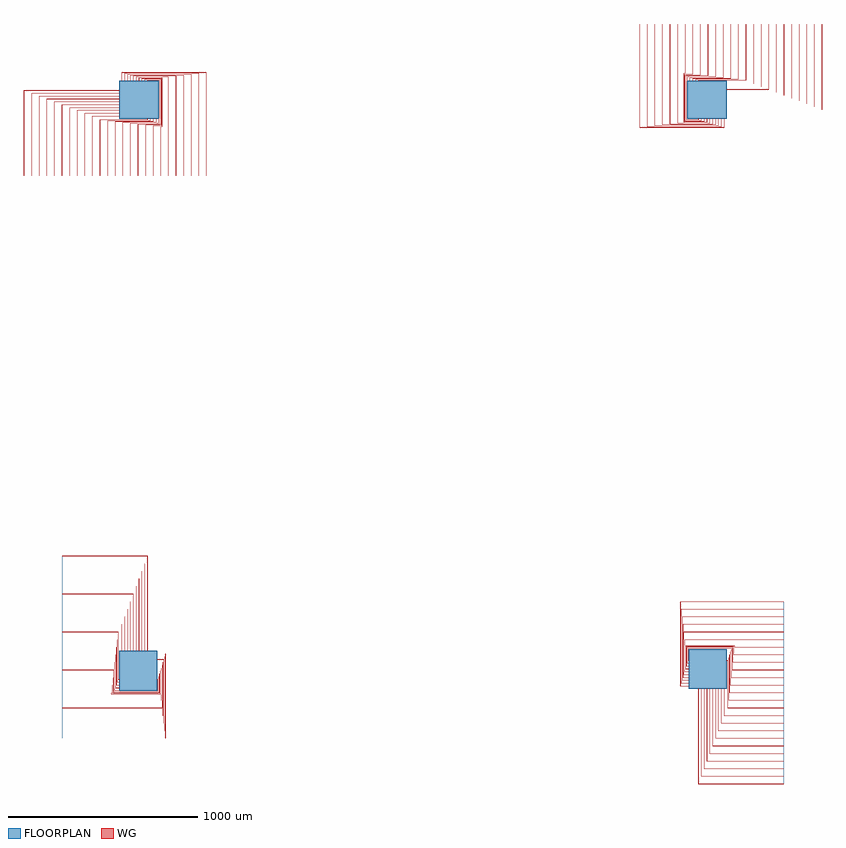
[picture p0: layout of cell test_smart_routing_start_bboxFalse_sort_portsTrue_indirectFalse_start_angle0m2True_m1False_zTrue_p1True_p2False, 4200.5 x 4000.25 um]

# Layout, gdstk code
import gdstk
lib = gdstk.Library(unit=1e-6, precision=1e-09)
def R(c, l, rs):  # rectangles x0, y0, x1, y1
    for r in rs: c.add(gdstk.rectangle(r[:2], r[2:], *l))
def P(c, l, *ps):  # polygons
    for p in ps: c.add(gdstk.Polygon(p, *l))
WG = (1, 0)
FLOORPLAN = (10, 0)

test_smart_routing_start = lib.new_cell('test_smart_routing_start_bboxFalse_sort_portsTrue_indirectFalse_start_angle0m2True_m1False_zTrue_p1True_p2False')
P(test_smart_routing_start, WG, [(3100,2950.05),(3100,2950.25),(3599.75,2950.25),(3599.75,3400),(3599.95,3400),(3599.95,2950.05)],
  [(3100,2949.75),(3100,2949.95),(3600.05,2949.95),(3600.05,3400),(3600.25,3400),(3600.25,2949.75)],
  [(3100,2965.05),(3100,2965.25),(3559.75,2965.25),(3559.75,3400),(3559.95,3400),(3559.95,2965.05)],
  [(3100,2964.75),(3100,2964.95),(3560.05,2964.95),(3560.05,3400),(3560.25,3400),(3560.25,2964.75)],
  [(3100,2980.05),(3100,2980.25),(3519.75,2980.25),(3519.75,3400),(3519.95,3400),(3519.95,2980.05)],
  [(3100,2979.75),(3100,2979.95),(3520.05,2979.95),(3520.05,3400),(3520.25,3400),(3520.25,2979.75)],
  [(3100,2995.05),(3100,2995.25),(3479.75,2995.25),(3479.75,3400),(3479.95,3400),(3479.95,2995.05)],
  [(3100,2994.75),(3100,2994.95),(3480.05,2994.95),(3480.05,3400),(3480.25,3400),(3480.25,2994.75)],
  [(3100,3010.05),(3100,3010.25),(3439.75,3010.25),(3439.75,3400),(3439.95,3400),(3439.95,3010.05)],
  [(3100,3009.75),(3100,3009.95),(3440.05,3009.95),(3440.05,3400),(3440.25,3400),(3440.25,3009.75)],
  [(3100,3025.05),(3100,3025.25),(3399.75,3025.25),(3399.75,3400),(3399.95,3400),(3399.95,3025.05)],
  [(3100,3024.75),(3100,3024.95),(3400.05,3024.95),(3400.05,3400),(3400.25,3400),(3400.25,3024.75)],
  [(3100,3040.05),(3100,3040.25),(3359.75,3040.25),(3359.75,3400),(3359.95,3400),(3359.95,3040.05)],
  [(3100,3039.75),(3100,3039.95),(3360.05,3039.95),(3360.05,3400),(3360.25,3400),(3360.25,3039.75)],
  [(3100,3055.05),(3100,3055.25),(3319.75,3055.25),(3319.75,3400),(3319.95,3400),(3319.95,3055.05)],
  [(3100,3054.75),(3100,3054.95),(3320.05,3054.95),(3320.05,3400),(3320.25,3400),(3320.25,3054.75)],
  [(3100,3070.05),(3100,3070.25),(3279.75,3070.25),(3279.75,3400),(3279.95,3400),(3279.95,3070.05)],
  [(3100,3069.75),(3100,3069.95),(3280.05,3069.95),(3280.05,3400),(3280.25,3400),(3280.25,3069.75)],
  [(3100,3085.05),(3100,3085.25),(3239.75,3085.25),(3239.75,3400),(3239.95,3400),(3239.95,3085.05)],
  [(3100,3084.75),(3100,3084.95),(3240.05,3084.95),(3240.05,3400),(3240.25,3400),(3240.25,3084.75)],
  [(2949.75,3100),(2949.75,3104.5),(3199.75,3104.5),(3199.75,3400),(3199.95,3400),(3199.95,3104.3),(2949.95,3104.3),(2949.95,3100)],
  [(2950.05,3100),(2950.05,3104.2),(3200.05,3104.2),(3200.05,3400),(3200.25,3400),(3200.25,3104),(2950.25,3104),(2950.25,3100)],
  [(2934.75,3100),(2934.75,3109),(3159.75,3109),(3159.75,3400),(3159.95,3400),(3159.95,3108.8),(2934.95,3108.8),(2934.95,3100)],
  [(2935.05,3100),(2935.05,3108.7),(3160.05,3108.7),(3160.05,3400),(3160.25,3400),(3160.25,3108.5),(2935.25,3108.5),(2935.25,3100)],
  [(2919.75,3100),(2919.75,3113.5),(3119.75,3113.5),(3119.75,3400),(3119.95,3400),(3119.95,3113.3),(2919.95,3113.3),(2919.95,3100)],
  [(2920.05,3100),(2920.05,3113.2),(3120.05,3113.2),(3120.05,3400),(3120.25,3400),(3120.25,3113),(2920.25,3113),(2920.25,3100)],
  [(2904.75,3100),(2904.75,3118),(3079.75,3118),(3079.75,3400),(3079.95,3400),(3079.95,3117.8),(2904.95,3117.8),(2904.95,3100)],
  [(2905.05,3100),(2905.05,3117.7),(3080.05,3117.7),(3080.05,3400),(3080.25,3400),(3080.25,3117.5),(2905.25,3117.5),(2905.25,3100)],
  [(2889.75,3100),(2889.75,3122.5),(3039.75,3122.5),(3039.75,3400),(3039.95,3400),(3039.95,3122.3),(2889.95,3122.3),(2889.95,3100)],
  [(2890.05,3100),(2890.05,3122.2),(3040.05,3122.2),(3040.05,3400),(3040.25,3400),(3040.25,3122),(2890.25,3122),(2890.25,3100)],
  [(2885.25,2895.5),(2885.25,3127),(2999.75,3127),(2999.75,3400),(2999.95,3400),(2999.95,3126.8),(2885.45,3126.8),(2885.45,2895.7),(2950.05,2895.7),(2950.05,2900),(2950.25,2900),(2950.25,2895.5)],
  [(2885.55,2895.8),(2885.55,3126.7),(3000.05,3126.7),(3000.05,3400),(3000.25,3400),(3000.25,3126.5),(2885.75,3126.5),(2885.75,2896),(2949.75,2896),(2949.75,2900),(2949.95,2900),(2949.95,2895.8)],
  [(2880.75,2891),(2880.75,3131.5),(2959.75,3131.5),(2959.75,3400),(2959.95,3400),(2959.95,3131.3),(2880.95,3131.3),(2880.95,2891.2),(2965.05,2891.2),(2965.05,2900),(2965.25,2900),(2965.25,2891)],
  [(2881.05,2891.3),(2881.05,3131.2),(2960.05,3131.2),(2960.05,3400),(2960.25,3400),(2960.25,3131),(2881.25,3131),(2881.25,2891.5),(2964.75,2891.5),(2964.75,2900),(2964.95,2900),(2964.95,2891.3)],
  [(2876.25,2886.5),(2876.25,3136),(2919.75,3136),(2919.75,3400),(2919.95,3400),(2919.95,3135.8),(2876.45,3135.8),(2876.45,2886.7),(2980.05,2886.7),(2980.05,2900),(2980.25,2900),(2980.25,2886.5)],
  [(2876.55,2886.8),(2876.55,3135.7),(2920.05,3135.7),(2920.05,3400),(2920.25,3400),(2920.25,3135.5),(2876.75,3135.5),(2876.75,2887),(2979.75,2887),(2979.75,2900),(2979.95,2900),(2979.95,2886.8)],
  [(2871.75,2882),(2871.75,3140.5),(2879.75,3140.5),(2879.75,3400),(2879.95,3400),(2879.95,3140.3),(2871.95,3140.3),(2871.95,2882.2),(2995.05,2882.2),(2995.05,2900),(2995.25,2900),(2995.25,2882)],
  [(2872.05,2882.3),(2872.05,3140.2),(2880.05,3140.2),(2880.05,3400),(2880.25,3400),(2880.25,3140),(2872.25,3140),(2872.25,2882.5),(2994.75,2882.5),(2994.75,2900),(2994.95,2900),(2994.95,2882.3)],
  [(2839.75,2877.5),(2839.75,3400),(2839.95,3400),(2839.95,2877.7),(3010.05,2877.7),(3010.05,2900),(3010.25,2900),(3010.25,2877.5)],
  [(2840.05,2877.8),(2840.05,3400),(2840.25,3400),(2840.25,2878),(3009.75,2878),(3009.75,2900),(3009.95,2900),(3009.95,2877.8)],
  [(2799.75,2873),(2799.75,3400),(2799.95,3400),(2799.95,2873.2),(3025.05,2873.2),(3025.05,2900),(3025.25,2900),(3025.25,2873)],
  [(2800.05,2873.3),(2800.05,3400),(2800.25,3400),(2800.25,2873.5),(3024.75,2873.5),(3024.75,2900),(3024.95,2900),(3024.95,2873.3)],
  [(2759.75,2868.5),(2759.75,3400),(2759.95,3400),(2759.95,2868.7),(3040.05,2868.7),(3040.05,2900),(3040.25,2900),(3040.25,2868.5)],
  [(2760.05,2868.8),(2760.05,3400),(2760.25,3400),(2760.25,2869),(3039.75,2869),(3039.75,2900),(3039.95,2900),(3039.95,2868.8)],
  [(2719.75,2864),(2719.75,3400),(2719.95,3400),(2719.95,2864.2),(3055.05,2864.2),(3055.05,2900),(3055.25,2900),(3055.25,2864)],
  [(2720.05,2864.3),(2720.05,3400),(2720.25,3400),(2720.25,2864.5),(3054.75,2864.5),(3054.75,2900),(3054.95,2900),(3054.95,2864.3)],
  [(2679.75,2859.5),(2679.75,3400),(2679.95,3400),(2679.95,2859.7),(3070.05,2859.7),(3070.05,2900),(3070.25,2900),(3070.25,2859.5)],
  [(2680.05,2859.8),(2680.05,3400),(2680.25,3400),(2680.25,2860),(3069.75,2860),(3069.75,2900),(3069.95,2900),(3069.95,2859.8)],
  [(2639.75,2855),(2639.75,3400),(2639.95,3400),(2639.95,2855.2),(3085.05,2855.2),(3085.05,2900),(3085.25,2900),(3085.25,2855)],
  [(2640.05,2855.3),(2640.05,3400),(2640.25,3400),(2640.25,2855.5),(3084.75,2855.5),(3084.75,2900),(3084.95,2900),(3084.95,2855.3)],
  [(-599.95,2600),(-599.95,3049.95),(-100,3049.95),(-100,3049.75),(-599.75,3049.75),(-599.75,2600)],
  [(-600.25,2600),(-600.25,3050.25),(-100,3050.25),(-100,3050.05),(-600.05,3050.05),(-600.05,2600)],
  [(-559.95,2600),(-559.95,3034.95),(-100,3034.95),(-100,3034.75),(-559.75,3034.75),(-559.75,2600)],
  [(-560.25,2600),(-560.25,3035.25),(-100,3035.25),(-100,3035.05),(-560.05,3035.05),(-560.05,2600)],
  [(-519.95,2600),(-519.95,3019.95),(-100,3019.95),(-100,3019.75),(-519.75,3019.75),(-519.75,2600)],
  [(-520.25,2600),(-520.25,3020.25),(-100,3020.25),(-100,3020.05),(-520.05,3020.05),(-520.05,2600)],
  [(-479.95,2600),(-479.95,3004.95),(-100,3004.95),(-100,3004.75),(-479.75,3004.75),(-479.75,2600)],
  [(-480.25,2600),(-480.25,3005.25),(-100,3005.25),(-100,3005.05),(-480.05,3005.05),(-480.05,2600)],
  [(-439.95,2600),(-439.95,2989.95),(-100,2989.95),(-100,2989.75),(-439.75,2989.75),(-439.75,2600)],
  [(-440.25,2600),(-440.25,2990.25),(-100,2990.25),(-100,2990.05),(-440.05,2990.05),(-440.05,2600)],
  [(-399.95,2600),(-399.95,2974.95),(-100,2974.95),(-100,2974.75),(-399.75,2974.75),(-399.75,2600)],
  [(-400.25,2600),(-400.25,2975.25),(-100,2975.25),(-100,2975.05),(-400.05,2975.05),(-400.05,2600)],
  [(-359.95,2600),(-359.95,2959.95),(-100,2959.95),(-100,2959.75),(-359.75,2959.75),(-359.75,2600)],
  [(-360.25,2600),(-360.25,2960.25),(-100,2960.25),(-100,2960.05),(-360.05,2960.05),(-360.05,2600)],
  [(-319.95,2600),(-319.95,2944.95),(-100,2944.95),(-100,2944.75),(-319.75,2944.75),(-319.75,2600)],
  [(-320.25,2600),(-320.25,2945.25),(-100,2945.25),(-100,2945.05),(-320.05,2945.05),(-320.05,2600)],
  [(-279.95,2600),(-279.95,2929.95),(-100,2929.95),(-100,2929.75),(-279.75,2929.75),(-279.75,2600)],
  [(-280.25,2600),(-280.25,2930.25),(-100,2930.25),(-100,2930.05),(-280.05,2930.05),(-280.05,2600)],
  [(-239.95,2600),(-239.95,2914.95),(-100,2914.95),(-100,2914.75),(-239.75,2914.75),(-239.75,2600)],
  [(-240.25,2600),(-240.25,2915.25),(-100,2915.25),(-100,2915.05),(-240.05,2915.05),(-240.05,2600)],
  [(-200.25,2600),(-200.25,2896),(49.75,2896),(49.75,2900),(49.95,2900),(49.95,2895.8),(-200.05,2895.8),(-200.05,2600)],
  [(-199.95,2600),(-199.95,2895.7),(50.05,2895.7),(50.05,2900),(50.25,2900),(50.25,2895.5),(-199.75,2895.5),(-199.75,2600)],
  [(-160.25,2600),(-160.25,2891.5),(64.75,2891.5),(64.75,2900),(64.95,2900),(64.95,2891.3),(-160.05,2891.3),(-160.05,2600)],
  [(-159.95,2600),(-159.95,2891.2),(65.05,2891.2),(65.05,2900),(65.25,2900),(65.25,2891),(-159.75,2891),(-159.75,2600)],
  [(-120.25,2600),(-120.25,2887),(79.75,2887),(79.75,2900),(79.95,2900),(79.95,2886.8),(-120.05,2886.8),(-120.05,2600)],
  [(-119.95,2600),(-119.95,2886.7),(80.05,2886.7),(80.05,2900),(80.25,2900),(80.25,2886.5),(-119.75,2886.5),(-119.75,2600)],
  [(-80.25,2600),(-80.25,2882.5),(94.75,2882.5),(94.75,2900),(94.95,2900),(94.95,2882.3),(-80.05,2882.3),(-80.05,2600)],
  [(-79.95,2600),(-79.95,2882.2),(95.05,2882.2),(95.05,2900),(95.25,2900),(95.25,2882),(-79.75,2882),(-79.75,2600)],
  [(-40.25,2600),(-40.25,2878),(109.75,2878),(109.75,2900),(109.95,2900),(109.95,2877.8),(-40.05,2877.8),(-40.05,2600)],
  [(-39.95,2600),(-39.95,2877.7),(110.05,2877.7),(110.05,2900),(110.25,2900),(110.25,2877.5),(-39.75,2877.5),(-39.75,2600)],
  [(-0.25,2600),(-0.25,2873.5),(114.25,2873.5),(114.25,3104),(50.25,3104),(50.25,3100),(50.05,3100),(50.05,3104.2),(114.45,3104.2),(114.45,2873.3),(-0.05,2873.3),(-0.05,2600)],
  [(0.05,2600),(0.05,2873.2),(114.55,2873.2),(114.55,3104.3),(49.95,3104.3),(49.95,3100),(49.75,3100),(49.75,3104.5),(114.75,3104.5),(114.75,2873),(0.25,2873),(0.25,2600)],
  [(39.75,2600),(39.75,2869),(118.75,2869),(118.75,3108.5),(35.25,3108.5),(35.25,3100),(35.05,3100),(35.05,3108.7),(118.95,3108.7),(118.95,2868.8),(39.95,2868.8),(39.95,2600)],
  [(40.05,2600),(40.05,2868.7),(119.05,2868.7),(119.05,3108.8),(34.95,3108.8),(34.95,3100),(34.75,3100),(34.75,3109),(119.25,3109),(119.25,2868.5),(40.25,2868.5),(40.25,2600)],
  [(79.75,2600),(79.75,2864.5),(123.25,2864.5),(123.25,3113),(20.25,3113),(20.25,3100),(20.05,3100),(20.05,3113.2),(123.45,3113.2),(123.45,2864.3),(79.95,2864.3),(79.95,2600)],
  [(80.05,2600),(80.05,2864.2),(123.55,2864.2),(123.55,3113.3),(19.95,3113.3),(19.95,3100),(19.75,3100),(19.75,3113.5),(123.75,3113.5),(123.75,2864),(80.25,2864),(80.25,2600)],
  [(119.75,2600),(119.75,2860),(127.75,2860),(127.75,3117.5),(5.25,3117.5),(5.25,3100),(5.05,3100),(5.05,3117.7),(127.95,3117.7),(127.95,2859.8),(119.95,2859.8),(119.95,2600)],
  [(120.05,2600),(120.05,2859.7),(128.05,2859.7),(128.05,3117.8),(4.95,3117.8),(4.95,3100),(4.75,3100),(4.75,3118),(128.25,3118),(128.25,2859.5),(120.25,2859.5),(120.25,2600)],
  [(159.75,2600),(159.75,3122),(-9.75,3122),(-9.75,3100),(-9.95,3100),(-9.95,3122.2),(159.95,3122.2),(159.95,2600)],
  [(160.05,2600),(160.05,3122.3),(-10.05,3122.3),(-10.05,3100),(-10.25,3100),(-10.25,3122.5),(160.25,3122.5),(160.25,2600)],
  [(199.75,2600),(199.75,3126.5),(-24.75,3126.5),(-24.75,3100),(-24.95,3100),(-24.95,3126.7),(199.95,3126.7),(199.95,2600)],
  [(200.05,2600),(200.05,3126.8),(-25.05,3126.8),(-25.05,3100),(-25.25,3100),(-25.25,3127),(200.25,3127),(200.25,2600)],
  [(239.75,2600),(239.75,3131),(-39.75,3131),(-39.75,3100),(-39.95,3100),(-39.95,3131.2),(239.95,3131.2),(239.95,2600)],
  [(240.05,2600),(240.05,3131.3),(-40.05,3131.3),(-40.05,3100),(-40.25,3100),(-40.25,3131.5),(240.25,3131.5),(240.25,2600)],
  [(279.75,2600),(279.75,3135.5),(-54.75,3135.5),(-54.75,3100),(-54.95,3100),(-54.95,3135.7),(279.95,3135.7),(279.95,2600)],
  [(280.05,2600),(280.05,3135.8),(-55.05,3135.8),(-55.05,3100),(-55.25,3100),(-55.25,3136),(280.25,3136),(280.25,2600)],
  [(319.75,2600),(319.75,3140),(-69.75,3140),(-69.75,3100),(-69.95,3100),(-69.95,3140.2),(319.95,3140.2),(319.95,2600)],
  [(320.05,2600),(320.05,3140.3),(-70.05,3140.3),(-70.05,3100),(-70.25,3100),(-70.25,3140.5),(320.25,3140.5),(320.25,2600)],
  [(359.75,2600),(359.75,3144.5),(-84.75,3144.5),(-84.75,3100),(-84.95,3100),(-84.95,3144.7),(359.95,3144.7),(359.95,2600)],
  [(360.05,2600),(360.05,3144.8),(-85.05,3144.8),(-85.05,3100),(-85.25,3100),(-85.25,3145),(360.25,3145),(360.25,2600)],
  [(49.75,100),(49.75,599.75),(-400,599.75),(-400,599.95),(49.95,599.95),(49.95,100)],
  [(50.05,100),(50.05,600.05),(-400,600.05),(-400,600.25),(50.25,600.25),(50.25,100)],
  [(34.75,100),(34.75,559.75),(-400,559.75),(-400,559.95),(34.95,559.95),(34.95,100)],
  [(35.05,100),(35.05,560.05),(-400,560.05),(-400,560.25),(35.25,560.25),(35.25,100)],
  [(19.75,100),(19.75,519.75),(-400,519.75),(-400,519.95),(19.95,519.95),(19.95,100)],
  [(20.05,100),(20.05,520.05),(-400,520.05),(-400,520.25),(20.25,520.25),(20.25,100)],
  [(4.75,100),(4.75,479.75),(-400,479.75),(-400,479.95),(4.95,479.95),(4.95,100)],
  [(5.05,100),(5.05,480.05),(-400,480.05),(-400,480.25),(5.25,480.25),(5.25,100)],
  [(-10.25,100),(-10.25,439.75),(-400,439.75),(-400,439.95),(-10.05,439.95),(-10.05,100)],
  [(-9.95,100),(-9.95,440.05),(-400,440.05),(-400,440.25),(-9.75,440.25),(-9.75,100)],
  [(-25.25,100),(-25.25,399.75),(-400,399.75),(-400,399.95),(-25.05,399.95),(-25.05,100)],
  [(-24.95,100),(-24.95,400.05),(-400,400.05),(-400,400.25),(-24.75,400.25),(-24.75,100)],
  [(-40.25,100),(-40.25,359.75),(-400,359.75),(-400,359.95),(-40.05,359.95),(-40.05,100)],
  [(-39.95,100),(-39.95,360.05),(-400,360.05),(-400,360.25),(-39.75,360.25),(-39.75,100)],
  [(-55.25,100),(-55.25,319.75),(-400,319.75),(-400,319.95),(-55.05,319.95),(-55.05,100)],
  [(-54.95,100),(-54.95,320.05),(-400,320.05),(-400,320.25),(-54.75,320.25),(-54.75,100)],
  [(-70.25,100),(-70.25,279.75),(-400,279.75),(-400,279.95),(-70.05,279.95),(-70.05,100)],
  [(-69.95,100),(-69.95,280.05),(-400,280.05),(-400,280.25),(-69.75,280.25),(-69.75,100)],
  [(-85.25,100),(-85.25,239.75),(-400,239.75),(-400,239.95),(-85.05,239.95),(-85.05,100)],
  [(-84.95,100),(-84.95,240.05),(-400,240.05),(-400,240.25),(-84.75,240.25),(-84.75,100)],
  [(-104.5,-50.25),(-104.5,199.75),(-400,199.75),(-400,199.95),(-104.3,199.95),(-104.3,-50.05),(-100,-50.05),(-100,-50.25)],
  [(-104.2,-49.95),(-104.2,200.05),(-400,200.05),(-400,200.25),(-104,200.25),(-104,-49.75),(-100,-49.75),(-100,-49.95)],
  [(-109,-65.25),(-109,159.75),(-400,159.75),(-400,159.95),(-108.8,159.95),(-108.8,-65.05),(-100,-65.05),(-100,-65.25)],
  [(-108.7,-64.95),(-108.7,160.05),(-400,160.05),(-400,160.25),(-108.5,160.25),(-108.5,-64.75),(-100,-64.75),(-100,-64.95)],
  [(-113.5,-80.25),(-113.5,119.75),(-400,119.75),(-400,119.95),(-113.3,119.95),(-113.3,-80.05),(-100,-80.05),(-100,-80.25)],
  [(-113.2,-79.95),(-113.2,120.05),(-400,120.05),(-400,120.25),(-113,120.25),(-113,-79.75),(-100,-79.75),(-100,-79.95)],
  [(-118,-95.25),(-118,79.75),(-400,79.75),(-400,79.95),(-117.8,79.95),(-117.8,-95.05),(-100,-95.05),(-100,-95.25)],
  [(-117.7,-94.95),(-117.7,80.05),(-400,80.05),(-400,80.25),(-117.5,80.25),(-117.5,-94.75),(-100,-94.75),(-100,-94.95)],
  [(-122.5,-110.25),(-122.5,39.75),(-400,39.75),(-400,39.95),(-122.3,39.95),(-122.3,-110.05),(-100,-110.05),(-100,-110.25)],
  [(-122.2,-109.95),(-122.2,40.05),(-400,40.05),(-400,40.25),(-122,40.25),(-122,-109.75),(-100,-109.75),(-100,-109.95)],
  [(-127,-114.75),(-127,-0.25),(-400,-0.25),(-400,-0.05),(-126.8,-0.05),(-126.8,-114.55),(104.3,-114.55),(104.3,-49.95),(100,-49.95),(100,-49.75),(104.5,-49.75),(104.5,-114.75)],
  [(-126.7,-114.45),(-126.7,0.05),(-400,0.05),(-400,0.25),(-126.5,0.25),(-126.5,-114.25),(104,-114.25),(104,-50.25),(100,-50.25),(100,-50.05),(104.2,-50.05),(104.2,-114.45)],
  [(-131.2,-118.95),(-131.2,-39.95),(-400,-39.95),(-400,-39.75),(-131,-39.75),(-131,-118.75),(108.5,-118.75),(108.5,-35.25),(100,-35.25),(100,-35.05),(108.7,-35.05),(108.7,-118.95)],
  [(-131.5,-119.25),(-131.5,-40.25),(-400,-40.25),(-400,-40.05),(-131.3,-40.05),(-131.3,-119.05),(108.8,-119.05),(108.8,-34.95),(100,-34.95),(100,-34.75),(109,-34.75),(109,-119.25)],
  [(-135.7,-123.45),(-135.7,-79.95),(-400,-79.95),(-400,-79.75),(-135.5,-79.75),(-135.5,-123.25),(113,-123.25),(113,-20.25),(100,-20.25),(100,-20.05),(113.2,-20.05),(113.2,-123.45)],
  [(-136,-123.75),(-136,-80.25),(-400,-80.25),(-400,-80.05),(-135.8,-80.05),(-135.8,-123.55),(113.3,-123.55),(113.3,-19.95),(100,-19.95),(100,-19.75),(113.5,-19.75),(113.5,-123.75)],
  [(-140.2,-127.95),(-140.2,-119.95),(-400,-119.95),(-400,-119.75),(-140,-119.75),(-140,-127.75),(117.5,-127.75),(117.5,-5.25),(100,-5.25),(100,-5.05),(117.7,-5.05),(117.7,-127.95)],
  [(-140.5,-128.25),(-140.5,-120.25),(-400,-120.25),(-400,-120.05),(-140.3,-120.05),(-140.3,-128.05),(117.8,-128.05),(117.8,-4.95),(100,-4.95),(100,-4.75),(118,-4.75),(118,-128.25)],
  [(-400,-159.95),(-400,-159.75),(122,-159.75),(122,9.75),(100,9.75),(100,9.95),(122.2,9.95),(122.2,-159.95)],
  [(-400,-160.25),(-400,-160.05),(122.3,-160.05),(122.3,10.05),(100,10.05),(100,10.25),(122.5,10.25),(122.5,-160.25)],
  [(-400,-199.95),(-400,-199.75),(126.5,-199.75),(126.5,24.75),(100,24.75),(100,24.95),(126.7,24.95),(126.7,-199.95)],
  [(-400,-200.25),(-400,-200.05),(126.8,-200.05),(126.8,25.05),(100,25.05),(100,25.25),(127,25.25),(127,-200.25)],
  [(-400,-239.95),(-400,-239.75),(131,-239.75),(131,39.75),(100,39.75),(100,39.95),(131.2,39.95),(131.2,-239.95)],
  [(-400,-240.25),(-400,-240.05),(131.3,-240.05),(131.3,40.05),(100,40.05),(100,40.25),(131.5,40.25),(131.5,-240.25)],
  [(-400,-279.95),(-400,-279.75),(135.5,-279.75),(135.5,54.75),(100,54.75),(100,54.95),(135.7,54.95),(135.7,-279.95)],
  [(-400,-280.25),(-400,-280.05),(135.8,-280.05),(135.8,55.05),(100,55.05),(100,55.25),(136,55.25),(136,-280.25)],
  [(-400,-319.95),(-400,-319.75),(140,-319.75),(140,69.75),(100,69.75),(100,69.95),(140.2,69.95),(140.2,-319.95)],
  [(-400,-320.25),(-400,-320.05),(140.3,-320.05),(140.3,70.05),(100,70.05),(100,70.25),(140.5,70.25),(140.5,-320.25)],
  [(-400,-359.95),(-400,-359.75),(144.5,-359.75),(144.5,84.75),(100,84.75),(100,84.95),(144.7,84.95),(144.7,-359.95)],
  [(-400,-360.25),(-400,-360.05),(144.8,-360.05),(144.8,85.05),(100,85.05),(100,85.25),(145,85.25),(145,-360.25)],
  [(2949.75,-600.25),(2949.75,-100),(2949.95,-100),(2949.95,-600.05),(3400,-600.05),(3400,-600.25)],
  [(2950.05,-599.95),(2950.05,-100),(2950.25,-100),(2950.25,-599.75),(3400,-599.75),(3400,-599.95)],
  [(2964.75,-560.25),(2964.75,-100),(2964.95,-100),(2964.95,-560.05),(3400,-560.05),(3400,-560.25)],
  [(2965.05,-559.95),(2965.05,-100),(2965.25,-100),(2965.25,-559.75),(3400,-559.75),(3400,-559.95)],
  [(2979.75,-520.25),(2979.75,-100),(2979.95,-100),(2979.95,-520.05),(3400,-520.05),(3400,-520.25)],
  [(2980.05,-519.95),(2980.05,-100),(2980.25,-100),(2980.25,-519.75),(3400,-519.75),(3400,-519.95)],
  [(2994.75,-480.25),(2994.75,-100),(2994.95,-100),(2994.95,-480.05),(3400,-480.05),(3400,-480.25)],
  [(2995.05,-479.95),(2995.05,-100),(2995.25,-100),(2995.25,-479.75),(3400,-479.75),(3400,-479.95)],
  [(3009.75,-440.25),(3009.75,-100),(3009.95,-100),(3009.95,-440.05),(3400,-440.05),(3400,-440.25)],
  [(3010.05,-439.95),(3010.05,-100),(3010.25,-100),(3010.25,-439.75),(3400,-439.75),(3400,-439.95)],
  [(3024.75,-400.25),(3024.75,-100),(3024.95,-100),(3024.95,-400.05),(3400,-400.05),(3400,-400.25)],
  [(3025.05,-399.95),(3025.05,-100),(3025.25,-100),(3025.25,-399.75),(3400,-399.75),(3400,-399.95)],
  [(3039.75,-360.25),(3039.75,-100),(3039.95,-100),(3039.95,-360.05),(3400,-360.05),(3400,-360.25)],
  [(3040.05,-359.95),(3040.05,-100),(3040.25,-100),(3040.25,-359.75),(3400,-359.75),(3400,-359.95)],
  [(3054.75,-320.25),(3054.75,-100),(3054.95,-100),(3054.95,-320.05),(3400,-320.05),(3400,-320.25)],
  [(3055.05,-319.95),(3055.05,-100),(3055.25,-100),(3055.25,-319.75),(3400,-319.75),(3400,-319.95)],
  [(3069.75,-280.25),(3069.75,-100),(3069.95,-100),(3069.95,-280.05),(3400,-280.05),(3400,-280.25)],
  [(3070.05,-279.95),(3070.05,-100),(3070.25,-100),(3070.25,-279.75),(3400,-279.75),(3400,-279.95)],
  [(3084.75,-240.25),(3084.75,-100),(3084.95,-100),(3084.95,-240.05),(3400,-240.05),(3400,-240.25)],
  [(3085.05,-239.95),(3085.05,-100),(3085.25,-100),(3085.25,-239.75),(3400,-239.75),(3400,-239.95)],
  [(3104,-200.25),(3104,49.75),(3100,49.75),(3100,49.95),(3104.2,49.95),(3104.2,-200.05),(3400,-200.05),(3400,-200.25)],
  [(3104.3,-199.95),(3104.3,50.05),(3100,50.05),(3100,50.25),(3104.5,50.25),(3104.5,-199.75),(3400,-199.75),(3400,-199.95)],
  [(3108.5,-160.25),(3108.5,64.75),(3100,64.75),(3100,64.95),(3108.7,64.95),(3108.7,-160.05),(3400,-160.05),(3400,-160.25)],
  [(3108.8,-159.95),(3108.8,65.05),(3100,65.05),(3100,65.25),(3109,65.25),(3109,-159.75),(3400,-159.75),(3400,-159.95)],
  [(3113,-120.25),(3113,79.75),(3100,79.75),(3100,79.95),(3113.2,79.95),(3113.2,-120.05),(3400,-120.05),(3400,-120.25)],
  [(3113.3,-119.95),(3113.3,80.05),(3100,80.05),(3100,80.25),(3113.5,80.25),(3113.5,-119.75),(3400,-119.75),(3400,-119.95)],
  [(3117.5,-80.25),(3117.5,94.75),(3100,94.75),(3100,94.95),(3117.7,94.95),(3117.7,-80.05),(3400,-80.05),(3400,-80.25)],
  [(3117.8,-79.95),(3117.8,95.05),(3100,95.05),(3100,95.25),(3118,95.25),(3118,-79.75),(3400,-79.75),(3400,-79.95)],
  [(3122,-40.25),(3122,109.75),(3100,109.75),(3100,109.95),(3122.2,109.95),(3122.2,-40.05),(3400,-40.05),(3400,-40.25)],
  [(3122.3,-39.95),(3122.3,110.05),(3100,110.05),(3100,110.25),(3122.5,110.25),(3122.5,-39.75),(3400,-39.75),(3400,-39.95)],
  [(3126.5,-0.25),(3126.5,114.25),(2896,114.25),(2896,50.25),(2900,50.25),(2900,50.05),(2895.8,50.05),(2895.8,114.45),(3126.7,114.45),(3126.7,-0.05),(3400,-0.05),(3400,-0.25)],
  [(3126.8,0.05),(3126.8,114.55),(2895.7,114.55),(2895.7,49.95),(2900,49.95),(2900,49.75),(2895.5,49.75),(2895.5,114.75),(3127,114.75),(3127,0.25),(3400,0.25),(3400,0.05)],
  [(2891.3,35.05),(2891.3,118.95),(3131.2,118.95),(3131.2,39.95),(3400,39.95),(3400,39.75),(3131,39.75),(3131,118.75),(2891.5,118.75),(2891.5,35.25),(2900,35.25),(2900,35.05)],
  [(2891,34.75),(2891,119.25),(3131.5,119.25),(3131.5,40.25),(3400,40.25),(3400,40.05),(3131.3,40.05),(3131.3,119.05),(2891.2,119.05),(2891.2,34.95),(2900,34.95),(2900,34.75)],
  [(2886.8,20.05),(2886.8,123.45),(3135.7,123.45),(3135.7,79.95),(3400,79.95),(3400,79.75),(3135.5,79.75),(3135.5,123.25),(2887,123.25),(2887,20.25),(2900,20.25),(2900,20.05)],
  [(2886.5,19.75),(2886.5,123.75),(3136,123.75),(3136,80.25),(3400,80.25),(3400,80.05),(3135.8,80.05),(3135.8,123.55),(2886.7,123.55),(2886.7,19.95),(2900,19.95),(2900,19.75)],
  [(2882.3,5.05),(2882.3,127.95),(3140.2,127.95),(3140.2,119.95),(3400,119.95),(3400,119.75),(3140,119.75),(3140,127.75),(2882.5,127.75),(2882.5,5.25),(2900,5.25),(2900,5.05)],
  [(2882,4.75),(2882,128.25),(3140.5,128.25),(3140.5,120.25),(3400,120.25),(3400,120.05),(3140.3,120.05),(3140.3,128.05),(2882.2,128.05),(2882.2,4.95),(2900,4.95),(2900,4.75)],
  [(2877.8,-9.95),(2877.8,159.95),(3400,159.95),(3400,159.75),(2878,159.75),(2878,-9.75),(2900,-9.75),(2900,-9.95)],
  [(2877.5,-10.25),(2877.5,160.25),(3400,160.25),(3400,160.05),(2877.7,160.05),(2877.7,-10.05),(2900,-10.05),(2900,-10.25)],
  [(2873.3,-24.95),(2873.3,199.95),(3400,199.95),(3400,199.75),(2873.5,199.75),(2873.5,-24.75),(2900,-24.75),(2900,-24.95)],
  [(2873,-25.25),(2873,200.25),(3400,200.25),(3400,200.05),(2873.2,200.05),(2873.2,-25.05),(2900,-25.05),(2900,-25.25)],
  [(2868.8,-39.95),(2868.8,239.95),(3400,239.95),(3400,239.75),(2869,239.75),(2869,-39.75),(2900,-39.75),(2900,-39.95)],
  [(2868.5,-40.25),(2868.5,240.25),(3400,240.25),(3400,240.05),(2868.7,240.05),(2868.7,-40.05),(2900,-40.05),(2900,-40.25)],
  [(2864.3,-54.95),(2864.3,279.95),(3400,279.95),(3400,279.75),(2864.5,279.75),(2864.5,-54.75),(2900,-54.75),(2900,-54.95)],
  [(2864,-55.25),(2864,280.25),(3400,280.25),(3400,280.05),(2864.2,280.05),(2864.2,-55.05),(2900,-55.05),(2900,-55.25)],
  [(2859.8,-69.95),(2859.8,319.95),(3400,319.95),(3400,319.75),(2860,319.75),(2860,-69.75),(2900,-69.75),(2900,-69.95)],
  [(2859.5,-70.25),(2859.5,320.25),(3400,320.25),(3400,320.05),(2859.7,320.05),(2859.7,-70.05),(2900,-70.05),(2900,-70.25)],
  [(2855.3,-84.95),(2855.3,359.95),(3400,359.95),(3400,359.75),(2855.5,359.75),(2855.5,-84.75),(2900,-84.75),(2900,-84.95)],
  [(2855,-85.25),(2855,360.25),(3400,360.25),(3400,360.05),(2855.2,360.05),(2855.2,-85.05),(2900,-85.05),(2900,-85.25)])
R(test_smart_routing_start, FLOORPLAN, [(-100,-110,100,100), (2900,-100,3100,110), (-100,2900,110,3100), (2890,2900,3100,3100)])
P(test_smart_routing_start, FLOORPLAN, [(-400,-360),(-400,600),(-400,600),(-400,-360)],
  [(-600,2600),(-600,2600),(360,2600),(360,2600)],
  [(3400,-600),(3400,360),(3400,360),(3400,-600)],
  [(2640,3400),(2640,3400),(3600,3400),(3600,3400)])

lib.write_gds('test_smart_routing_start_bboxFalse_sort_portsTrue_indirectFalse_start_angle0m2True_m1False_zTrue_p1True_p2False.gds')
